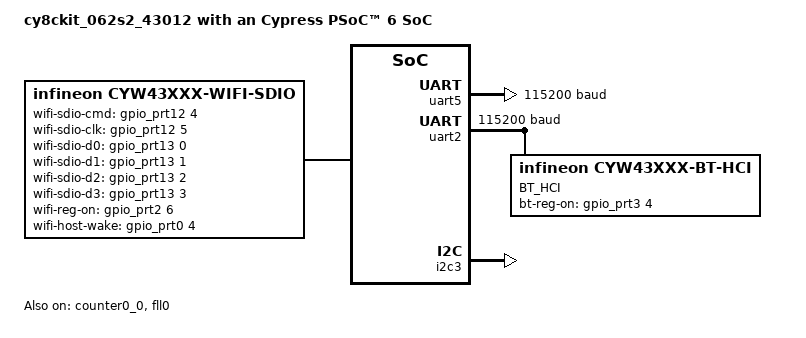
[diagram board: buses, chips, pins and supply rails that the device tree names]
/*
 * Copyright (c) 2021 Cypress Semiconductor Corporation.
 * SPDX-License-Identifier: Apache-2.0
 */

/dts-v1/;
#include <infineon/psoc6/mpns/CY8C624ABZI_S2D44.dtsi>
#include <infineon/psoc6/system_clocks.dtsi>
#include "cy8ckit_062s2_43012_common.dtsi"

/ {
	model = "cy8ckit_062s2_43012 with an Cypress PSoC™ 6 SoC";
	compatible = "cy8ckit_062s2_43012", "PSoC6";

	aliases {
		uart-5 = &uart5;
		i2c-0  = &i2c3;
	};

	chosen {
		zephyr,sram = &sram0;
		zephyr,flash = &flash0;
		zephyr,console = &uart5;
		zephyr,shell-uart = &uart5;
		zephyr,bt_uart = &uart2;
	};

	/* Wifi configuration */
	wifi-sdio {
		status = "okay";
		compatible = "infineon,cyw43xxx-wifi-sdio";

		/* SDIO pins */
		wifi-sdio-cmd-gpios = <&gpio_prt12 4 >;
		wifi-sdio-clk-gpios = <&gpio_prt12 5 >;
		wifi-sdio-d0-gpios  = <&gpio_prt13 0 >;
		wifi-sdio-d1-gpios  = <&gpio_prt13 1 >;
		wifi-sdio-d2-gpios  = <&gpio_prt13 2 >;
		wifi-sdio-d3-gpios  = <&gpio_prt13 3 >;


		/* WIFI control gpios */
		wifi-reg-on-gpios    = <&gpio_prt2 6 0>;
		wifi-host-wake-gpios = <&gpio_prt0 4 0>;
	};
};

&counter0_0 {
	status = "okay";
};

&uart5 {
	status = "okay";
	current-speed = <115200>;

	/* UART pins */
	pinctrl-0 = <&p5_1_scb5_uart_tx &p5_0_scb5_uart_rx>;
	pinctrl-names = "default";
};

&uart2 {
	status = "okay";
	current-speed = <115200>;

	/* HCI-UART pins*/
	pinctrl-0 = <&p3_1_scb2_uart_tx &p3_0_scb2_uart_rx &p3_2_scb2_uart_rts &p3_3_scb2_uart_cts>;
	pinctrl-names = "default";

	bt-hci {
		status = "okay";
		compatible = "infineon,cyw43xxx-bt-hci";
		label = "BT_HCI";
		bt-reg-on-gpios = <&gpio_prt3 4 GPIO_ACTIVE_HIGH>;
		baudrate_for_fw_download = <3000000>;
	};
};

&i2c3 {
	status = "okay";

	/* I2C pins */
	pinctrl-0 = <&p6_0_scb3_i2c_scl &p6_1_scb3_i2c_sda>;
	pinctrl-names = "default";
};

/* System clock configuration */
&fll0 {
	status = "okay";
	clock-frequency = <100000000>;
};

&clk_hf0 {
	clock-div = <1>;
	clocks = <&fll0>;
};

/* CM4 core clock = 100MHz
 * &fll clock-frequency / &clk_hf0 clock-div / &clk_fast clock-div = 100MHz / 1 / 1 = 100MHz
 */
&clk_fast {
	clock-div = <1>;
};

/* CM0+ core clock = 50MHz
 * &fll clock-frequency / &clk_hf0 clock-div / &clk_slow clock-div = 100MHz / 1 / 2 = 50MHz
 */
&clk_slow {
	clock-div = <2>;
};

/* PERI core clock = 100MHz
 * &fll clock-frequency / &clk_hf0 clock-div / &clk_peri clock-div = 100MHz / 1 / 1 = 100MHz
 */
&clk_peri {
	clock-div = <1>;
};


&pinctrl {

	/* Configure pin control bias mode for uart2 pins */
	p3_1_scb2_uart_tx {
		drive-push-pull;
	};

	p3_0_scb2_uart_rx {
		input-enable;
	};

	p3_2_scb2_uart_rts {
		drive-push-pull;
	};

	p3_3_scb2_uart_cts {
		input-enable;
	};

	/* Configure pin control bias mode for uart5 pins */
	p5_1_scb5_uart_tx {
		drive-push-pull;
	};

	p5_0_scb5_uart_rx {
		input-enable;
	};

	/* Configure pin control bias mode for i2c3 pins */
	p6_0_scb3_i2c_scl {
		drive-open-drain; input-enable;
	};

	p6_1_scb3_i2c_sda {
		drive-open-drain; input-enable;
	};
};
